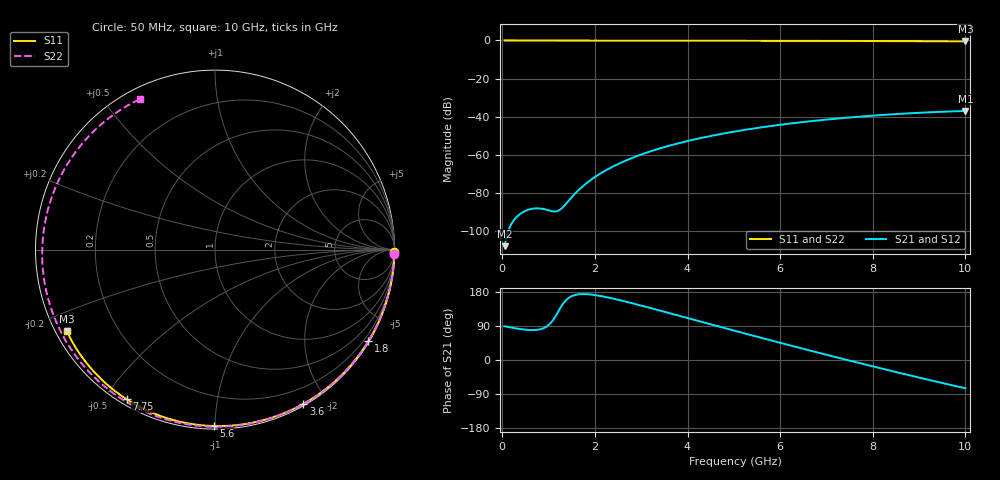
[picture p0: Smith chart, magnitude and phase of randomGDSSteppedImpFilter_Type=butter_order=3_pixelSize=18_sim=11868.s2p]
! freq	dB(S11)	phase(S11)	dB(S12)	phase(S12)
!  dB(S21)	phase(S21)	dB(S22)	phase(S22)
!S-par simulation data
#  GHz  S  DB  R 50
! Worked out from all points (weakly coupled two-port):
!   200 points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, 50 MHz to 10 GHz, reference 50 ohm
!   highest |S21| = -36.97 dB at 10 GHz (marker M1); lowest = -107.9 dB at 50 MHz (marker M2)
!   lowest |S11| = -0.5 dB at 10 GHz (marker M3), VSWR 33.99, Z = 1.57 - j12.8 ohm
!   |S11| at or under -10 dB: nowhere
!   |S22| runs from -0.6 to 0.0 dB; largest |S21 - S12| = 0
!   S11 on the Smith chart (normalised r, x): 50 MHz: open; 1.8 GHz: 0.03, -3.62; 3.6 GHz: 0.02, -1.72; 5.6 GHz: 0.02, -0.99; 7.75 GHz: 0.02, -0.57; 10 GHz: 0.03, -0.26
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0.05  -0.00 -0.9  -107.91 89.0  -107.91 89.0  -0.00 -1.5
0.4  -0.01 -7.0  -90.77 81.5  -90.77 81.5  -0.02 -12.1
0.75  -0.02 -13.0  -88.05 79.6  -88.05 79.6  -0.03 -22.5
1.55  -0.03 -26.7  -80.87 170.8  -80.87 170.8  -0.06 -45.7
1.6  -0.03 -27.5  -79.62 172.4  -79.62 172.4  -0.06 -47.2
1.75  -0.04 -30.1  -76.24 174.0  -76.24 174.0  -0.06 -51.4
1.8  -0.04 -30.9  -75.22 173.8  -75.22 173.8  -0.07 -52.8
2.1  -0.05 -35.9  -70.06 169.3  -70.06 169.3  -0.08 -61.1
2.45  -0.05 -41.7  -65.41 160.4  -65.41 160.4  -0.09 -70.5
2.9  -0.06 -49.1  -60.74 146.7  -60.74 146.7  -0.10 -82.2
3.4  -0.08 -57.1  -56.65 130.6  -56.65 130.6  -0.12 -94.7
3.6  -0.08 -60.2  -55.25 124.0  -55.25 124.0  -0.13 -99.5
4.3  -0.10 -71.1  -51.11 100.8  -51.11 100.8  -0.15 -116.0
5.05  -0.13 -82.4  -47.64 76.1  -47.64 76.1  -0.19 -132.8
5.6  -0.15 -90.5  -45.56 58.2  -45.56 58.2  -0.22 -144.7
6.15  -0.18 -98.4  -43.78 40.6  -43.78 40.6  -0.25 -156.4
6.7  -0.21 -106.1  -42.25 23.2  -42.25 23.2  -0.29 -168.0
7.25  -0.24 -113.7  -40.93 6.1  -40.93 6.1  -0.33 -179.6
7.75  -0.28 -120.6  -39.90 -9.2  -39.90 -9.2  -0.37 169.6
8.35  -0.33 -128.8  -38.85 -27.3  -38.85 -27.3  -0.42 156.4
9.15  -0.41 -139.6  -37.77 -50.8  -37.77 -50.8  -0.49 137.9
10  -0.51 -151.3  -36.97 -74.5  -36.97 -74.5  -0.57 116.6
